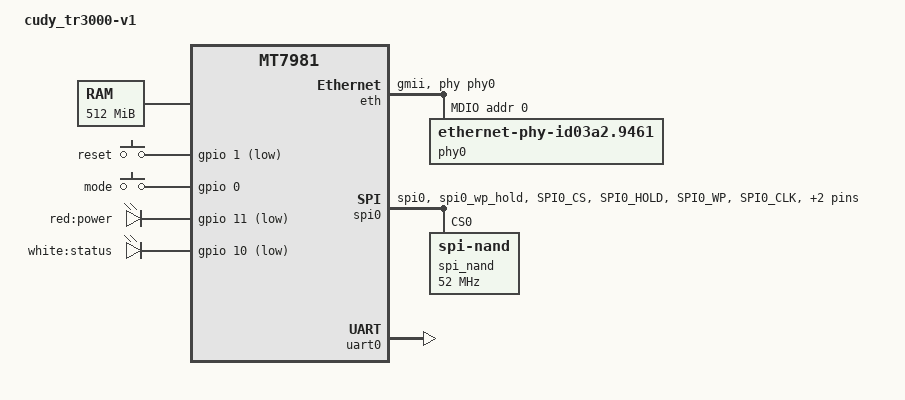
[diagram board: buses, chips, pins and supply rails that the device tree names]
// SPDX-License-Identifier: GPL-2.0-or-later

/dts-v1/;
#include "mt7981.dtsi"
#include <dt-bindings/gpio/gpio.h>
#include <dt-bindings/input/linux-event-codes.h>

/ {
	#address-cells = <1>;
	#size-cells = <1>;
	model = "cudy_tr3000-v1";
	compatible = "mediatek,mt7981", "mediatek,mt7981-rfb";

	chosen {
		stdout-path = &uart0;
		tick-timer = &timer0;
	};

	config {
		bootcmd = "mtkboardboot";
		blink_led = "white:status";
		system_led = "red:power";
	};

	mtd-layout {
		/* stock 128MB (ubi = 64 MiB) */
		layout@0 {
			label = "default";
			cmdline = "console=ttyS0,115200n8 loglevel=8 swiotlb=512 mtd=ubi uart_en=1";
			mtdids = "nmbm0=nmbm0";
			mtdparts = "nmbm0:1024k(BL2),512k(u-boot-env),2048k(Factory),256k(bdinfo),2048k(FIP),65536k(ubi)";
			boot_part = "ubi";
			factory_part = "ubi";
			sysupgrade_kernel_ubipart = "ubi";
			sysupgrade_rootfs_ubipart = "ubi";
		};

		/* OpenWrt U-Boot layout (ubi ≈ 122.25 MiB, 0x07A40000 = 125184k) */
		layout@1 {
			label = "openwrt-ubootmod";
			cmdline  = "console=ttyS0,115200n8 root=/dev/fit0 rootwait";
			mtdids = "nmbm0=nmbm0";
			mtdparts = "nmbm0:1024k(BL2),512k(u-boot-env),2048k(Factory),256k(bdinfo),2048k(FIP),125184k(ubi)";
			boot_part = "ubi";
			factory_part = "ubi";
			sysupgrade_kernel_ubipart = "ubi";
			sysupgrade_rootfs_ubipart  = "ubi";
			boot_volume = "fit";
		};

		/* ImmortalWrt 112M UBI */
		layout@2 {
			label = "immortalwrt-112m";
			cmdline = "console=ttyS0,115200n8 loglevel=8 swiotlb=512 mtd=ubi uart_en=1";
			mtdids = "nmbm0=nmbm0";
			mtdparts = "nmbm0:1024k(BL2),512k(u-boot-env),2048k(Factory),256k(bdinfo),2048k(FIP),114688k(ubi)";
			boot_part = "ubi";
			factory_part = "ubi";
			sysupgrade_kernel_ubipart = "ubi";
			sysupgrade_rootfs_ubipart = "ubi";
		};

		/* stock 256MB (ubi ≈ 230 MiB, 0x0E600000 = 235520k) */
		layout@3 {
			label = "Factory-256";
			cmdline = "console=ttyS0,115200n8 loglevel=8 swiotlb=512 mtd=ubi uart_en=1";
			mtdids = "nmbm0=nmbm0";
			mtdparts = "nmbm0:1024k(BL2),512k(u-boot-env),2048k(Factory),256k(bdinfo),2048k(FIP),235520k(ubi)";
			boot_part = "ubi";
			factory_part = "ubi";
			sysupgrade_kernel_ubipart = "ubi";
			sysupgrade_rootfs_ubipart = "ubi";
		};
	};

	memory@40000000 {
		device_type = "memory";
		reg = <0x40000000 0x20000000>;
	};

	gpio-keys {
		compatible = "gpio-keys";

		button-reset {
			label = "reset";
			linux,code = <KEY_RESTART>;
			gpios = <&gpio 1 GPIO_ACTIVE_LOW>;
		};

		button-mode {
			label = "mode";
			linux,code = <EV_SW>;
			linux,input-type = <BTN_0>;
			gpios = <&gpio 0 GPIO_ACTIVE_HIGH>;
			debounce-interval = <60>;
		};
	};

	gpio-leds {
		compatible = "gpio-leds";

		led_status: led-0 {
			label = "red:power";
			gpios = <&gpio 11 GPIO_ACTIVE_LOW>;
		};

		led-1 {
			label = "white:status";
			gpios = <&gpio 10 GPIO_ACTIVE_LOW>;
		};
	};

	bl2_verify {
		bl2_compatible = "spim-nand";
	};
};

&eth {
	status = "okay";
	mediatek,gmac-id = <1>;
	phy-mode = "gmii";
	phy-handle = <&phy0>;

	mdio {
		phy0: ethernet-phy@0 {
			compatible = "ethernet-phy-id03a2.9461";
			reg = <0x0>;
			phy-mode = "gmii";
		};
	};
};

&pinctrl {
	spi_flash_pins: spi0-pins-func-1 {
		mux {
			function = "flash";
			groups = "spi0", "spi0_wp_hold";
		};

		conf-pu {
			pins = "SPI0_CS", "SPI0_HOLD", "SPI0_WP";
			drive-strength = <MTK_DRIVE_8mA>;
			bias-pull-up = <MTK_PUPD_SET_R1R0_11>;
		};

		conf-pd {
			pins = "SPI0_CLK", "SPI0_MOSI", "SPI0_MISO";
			drive-strength = <MTK_DRIVE_8mA>;
			bias-pull-down = <MTK_PUPD_SET_R1R0_11>;
		};
	};
};

&spi0 {
	#address-cells = <1>;
	#size-cells = <0>;
	pinctrl-names = "default";
	pinctrl-0 = <&spi_flash_pins>;
	status = "okay";
	must_tx;
	enhance_timing;
	dma_ext;
	ipm_design;
	support_quad;
	tick_dly = <2>;
	sample_sel = <0>;

	spi_nand@0 {
		compatible = "spi-nand";
		reg = <0>;
		spi-max-frequency = <52000000>;
	};
};

&uart0 {
	status = "okay";
};

&watchdog {
	status = "disabled";
};
